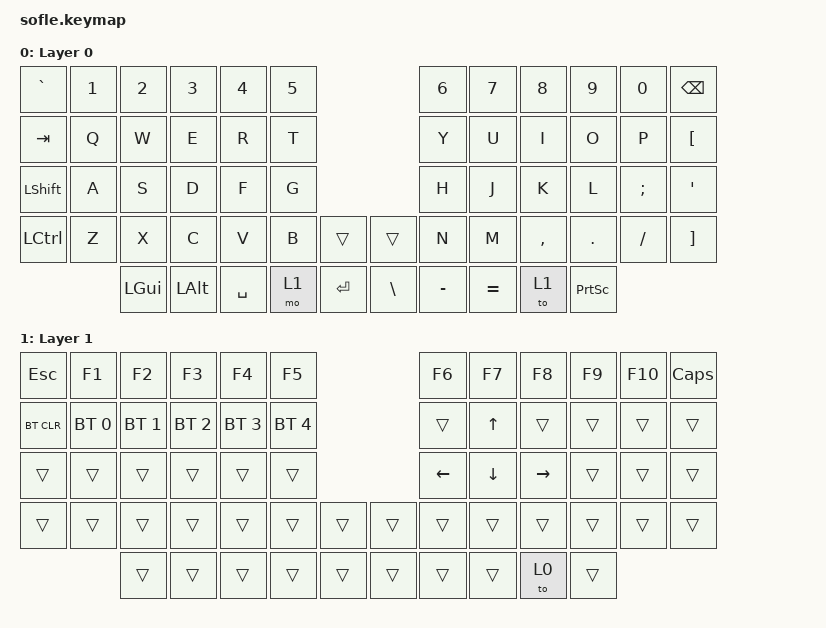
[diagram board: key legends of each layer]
/*
 * Copyright (c) 2020 The ZMK Contributors
 *
 * SPDX-License-Identifier: MIT
 */

#include <behaviors.dtsi>
#include <dt-bindings/zmk/bt.h>
#include <dt-bindings/zmk/keys.h>

&nice_view_spi { cs-gpios = <&pro_micro 0 GPIO_ACTIVE_HIGH>; };

/ {
    keymap {
        compatible = "zmk,keymap";

        Default {
            display-name = "Layer 0";

            // ------------------------------------------------------------------------------------------------------------
            // |  `    |  1  |  2  |  3   |  4   |  5   |                   |  6   |  7    |  8    |  9   |   0   |       |
            // |  ESC  |  Q  |  W  |  E   |  R   |  T   |                   |  Y   |  U    |  I    |  O   |   P   | BKSPC |
            // |  TAB  |  A  |  S  |  D   |  F   |  G   |                   |  H   |  J    |  K    |  L   |   ;   |   '   |
            // | SHIFT |  Z  |  X  |  C   |  V   |  B   |  MUTE  |  |       |  N   |  M    |  ,    |  .   |   /   | SHIFT |
            //               | GUI | ALT  | CTRL | LOWER|  ENTER |  | SPACE | RAISE| CTRL  | ALT   | GUI  |

            bindings = <
&kp GRAVE         &kp N1  &kp N2    &kp N3    &kp N4     &kp N5                       &kp N6     &kp N7     &kp N8     &kp N9           &kp N0    &kp BACKSPACE
&kp TAB           &kp Q   &kp W     &kp E     &kp R      &kp T                        &kp Y      &kp U      &kp I      &kp O            &kp P     &kp LEFT_BRACKET
&kp LEFT_SHIFT    &kp A   &kp S     &kp D     &kp F      &kp G                        &kp H      &kp J      &kp K      &kp L            &kp SEMI  &kp SQT
&kp LEFT_CONTROL  &kp Z   &kp X     &kp C     &kp V      &kp B   &trans     &trans    &kp N      &kp M      &kp COMMA  &kp DOT          &kp FSLH  &kp RIGHT_BRACKET
                          &kp LGUI  &kp LALT  &kp SPACE  &mo 1   &kp RET    &kp BSLH  &kp MINUS  &kp EQUAL  &to 1      &kp PRINTSCREEN
            >;
        };

        Alternative_Layer {
            display-name = "Layer 1";
            bindings = <
&kp ESC     &kp F1        &kp F2        &kp F3        &kp F4        &kp F5                          &kp F6          &kp F7          &kp F8           &kp F9  &kp F10  &kp CAPS
&bt BT_CLR  &bt BT_SEL 0  &bt BT_SEL 1  &bt BT_SEL 2  &bt BT_SEL 3  &bt BT_SEL 4                    &trans          &kp UP_ARROW    &trans           &trans  &trans   &trans
&trans      &trans        &trans        &trans        &trans        &trans                          &kp LEFT_ARROW  &kp DOWN_ARROW  &kp RIGHT_ARROW  &trans  &trans   &trans
&trans      &trans        &trans        &trans        &trans        &trans        &trans    &trans  &trans          &trans          &trans           &trans  &trans   &trans
                          &trans        &trans        &trans        &trans        &trans    &trans  &trans          &trans          &to 0            &trans
            >;
        };
    };
};
